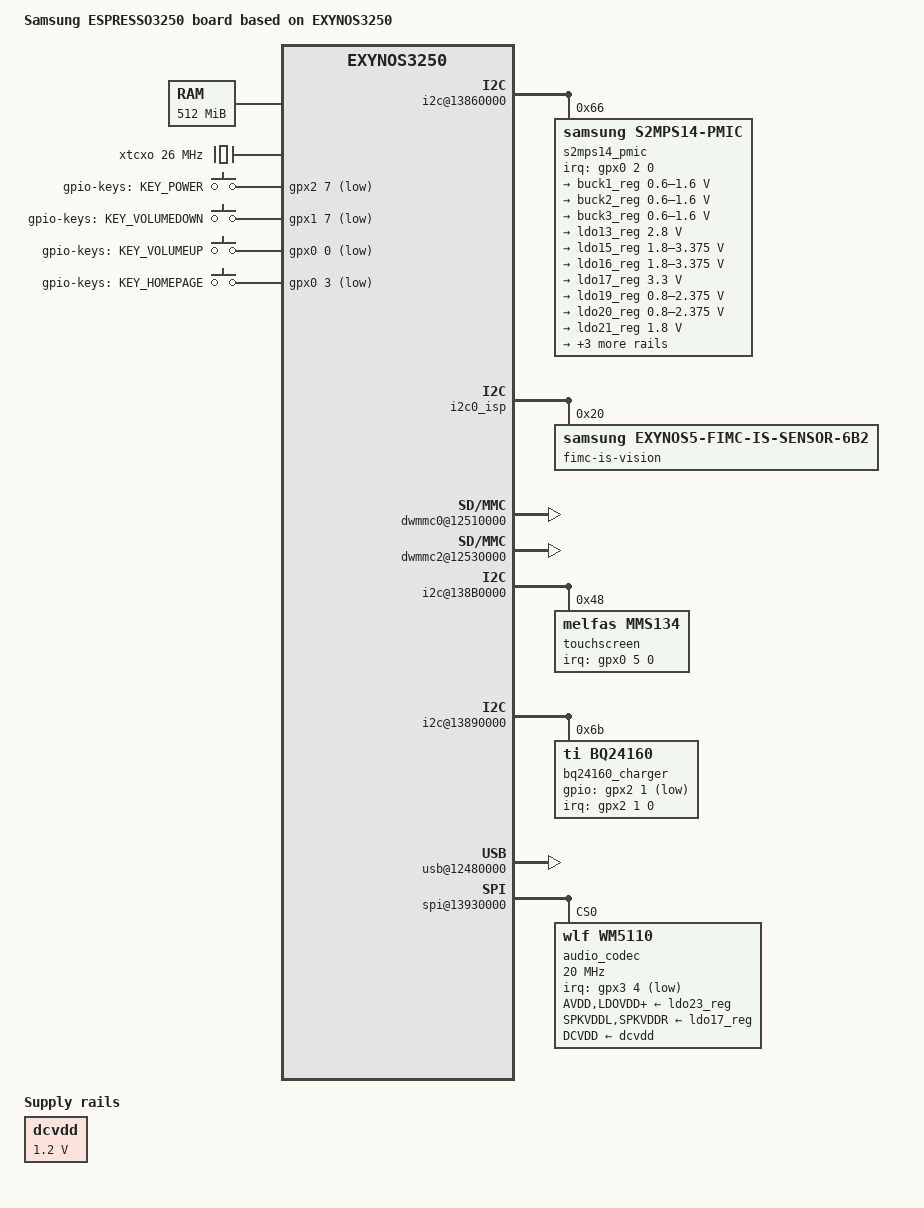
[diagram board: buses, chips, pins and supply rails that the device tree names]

/*
 * SAMSUNG ESPRESSO3250 board device tree source
 *
 * Copyright (c) 2014 Samsung Electronics Co., Ltd.
 *		http://www.samsung.com
 *
 * This program is free software; you can redistribute it and/or modify
 * it under the terms of the GNU General Public License version 2 as
 * published by the Free Software Foundation.
*/

/dts-v1/;
#include "exynos3250.dtsi"


/ {
	model = "Samsung ESPRESSO3250 board based on EXYNOS3250";
	compatible = "samsung,ESPRESSO3250", "samsung,exynos3250";

	chosen {
	};

	memory {
		reg = <0x40000000 0x20000000>;
	};

	fixed-rate-clocks {
		#address-cells = <1>;
		#size-cells = <0>;

		xrtcxti: clock@0 {
			compatible = "fixed-clock";
			reg = <0>;
			clock-frequency = <32768>;
			#clock-cells = <0>;
			clock-output-names = "xrtcxti";
		};

		xusbxti: clock@1 {
			compatible = "fixed-clock";
			clock-frequency = <24000000>;
			reg = <1>;
			#clock-cells = <0>;
			clock-output-names = "xusbxti";
		};

		xxti: clock@2 {
			compatible = "fixed-clock";
			reg = <2>;
			clock-frequency = <0>;
			#clock-cells = <0>;
			clock-output-names = "xxti";
			};

		xtcxo: clock@3 {
			compatible = "fixed-clock";
			reg = <3>;
			clock-frequency = <26000000>;
			#clock-cells = <0>;
			clock-output-names = "xtcxo";
		};
	};

	gpio_keys {
		compatible = "gpio-keys";
		#address-cells = <1>;
		#size-cells = <0>;

		button@1 {
			label = "gpio-keys: KEY_POWER";
			linux,code = <116>;
			gpios = <&gpx2 7 0x1>;
			gpio-key,wakeup = <1>;
			debounce-interval = <0>;
		};

		button@2 {
			label = "gpio-keys: KEY_VOLUMEDOWN";
			linux,code = <114>;
			gpios = <&gpx1 7 0x1>;
			debounce-interval = <0>;
		};

		button@3 {
			label = "gpio-keys: KEY_VOLUMEUP";
			linux,code = <115>;
			gpios = <&gpx0 0 0x1>;
			debounce-interval = <0>;
		};

		button@4 {
			label = "gpio-keys: KEY_HOMEPAGE";
			linux,code = <172>;
			gpios = <&gpx0 3 0x1>;
			debounce-interval = <0>;
		};
	};

	i2c@13860000 {
		status = "okay";
		samsung,i2c-sda-delay = <100>;
		samsung,i2c-max-bus-freq = <400000>;
		#size-cells = <0>;

		s2mps14_pmic@66 {
			compatible = "samsung,s2mps14-pmic";
			reg = <0x66>;
			interrupts = <2 0 0>;
			interrupt-parent = <&gpx0>;
			pinctrl-names = "default";
			pinctrl-0 = <&pmic_irq &pm_wrsti>;
			/* RTC: wtsr/smpl */
                        wtsr_en = <1>; /* enable */
                        smpl_en = <1>; /* enable */
                        wtsr_timer_val = <3>;   /* 1000ms */
                        smpl_timer_val = <4>;   /* 500ms */
                        check_jigon = <0>; /* do not check jigon */
                        /* RTC: If it's first boot, reset rtc to 1/1/2014 12:00:00(Wed) */
                        init_time,sec = <0>;
                        init_time,min = <0>;
                        init_time,hour = <12>;
                        init_time,mday = <1>;
                        init_time,mon = <0>;
                        init_time,year = <114>;
                        init_time,wday = <3>;

			regulators {
				buck1_reg: BUCK1 {
					regulator-name = "vdd_mif";
					regulator-min-microvolt = <600000>;
					regulator-max-microvolt = <1600000>;
					regulator-always-on;
					regulator-boot-on;
					regulator-ramp-delay = <12000>;
					regulator-initial-mode = <1>;
				};

				buck2_reg: BUCK2 {
					regulator-name = "vdd_arm";
					regulator-min-microvolt = <600000>;
					regulator-max-microvolt = <1600000>;
					regulator-always-on;
					regulator-boot-on;
					regulator-ramp-delay = <12000>;
					regulator-initial-mode = <1>;
				};

				buck3_reg: BUCK3 {
					regulator-name = "vdd_int";
					regulator-min-microvolt = <600000>;
					regulator-max-microvolt = <1600000>;
					regulator-always-on;
					regulator-boot-on;
					regulator-ramp-delay = <12000>;
					regulator-initial-mode = <1>;
				};

				ldo13_reg: LDO13 {
					regulator-name = "vt_cam_sensor_a2v8";
					regulator-min-microvolt = <2800000>;
					regulator-max-microvolt = <2800000>;
					regulator-initial-mode = <1>;
				};

				ldo15_reg: LDO15 {
					regulator-name = "vdd_tsp_3.3";
					regulator-min-microvolt = <1800000>;
					regulator-max-microvolt = <3375000>;
					regulator-initial-mode = <1>;
				};

				ldo16_reg: LDO16 {
					regulator-name = "vdd_lcd_3.3";
					regulator-min-microvolt = <1800000>;
					regulator-max-microvolt = <3375000>;
					regulator-initial-mode = <1>;
				};

				ldo17_reg: LDO17 {
					regulator-name = "vcc_peri_3.3";
					regulator-min-microvolt = <3300000>;
					regulator-max-microvolt = <3300000>;
				};

				ldo19_reg: LDO19 {
					regulator-name = "vdd_tsp_1.8";
					regulator-min-microvolt = <800000>;
					regulator-max-microvolt = <2375000>;
					regulator-initial-mode = <1>;
				};
				ldo20_reg: LDO20 {
					regulator-name = "vdd_lcd_1.8";
					regulator-min-microvolt = <800000>;
					regulator-max-microvolt = <2375000>;
					regulator-initial-mode = <1>;
				};

				ldo21_reg: LDO21 {
					regulator-name = "vt_cam_core_1v8";
					regulator-min-microvolt = <1800000>;
					regulator-max-microvolt = <1800000>;
					regulator-initial-mode = <1>;
				};

				ldo6_reg: LDO6 {
                                        regulator-name = "VDD_USB_AP_1.0V";
                                        regulator-min-microvolt = <1000000>;
                                        regulator-max-microvolt = <1000000>;
                                        regulator-always-on;
					regulator-initial-mode = <1>;
                                };

				ldo8_reg: LDO8 {
                                        regulator-name = "VDD_UOTG_AP_3.3V";
                                        regulator-min-microvolt = <3300000>;
                                        regulator-max-microvolt = <3300000>;
                                };

				ldo23_reg: LDO23 {
					regulator-name = "vcc_peri_1.8";
					regulator-min-microvolt = <1800000>;
					regulator-max-microvolt = <1800000>;
					regulator-always-on;
				};

				ldo2_reg: LDO2 {
					regulator-always-on;
					regulator-initial-mode = <1>;
                                };

				ldo4_reg: LDO4 {
					regulator-always-on;
                                        regulator-initial-mode = <1>;
                                };

				ldo5_reg: LDO5 {
					regulator-always-on;
                                        regulator-initial-mode = <1>;
                                };

				ldo7_reg: LDO7 {
					regulator-always-on;
                                        regulator-initial-mode = <1>;
                                };
			};
		};
	};

	dcvdd: fixed-regulator@0 {
		compatible = "regulator-fixed";
		regulator-name = "dcvdd-supply";
		regulator-min-microvolt = <1200000>;
		regulator-max-microvolt = <1200000>;
	};

	i2c0_isp: i2c@12130000 {
		status = "okay";
		samsung,i2c-sda-delay = <100>;
		samsung,i2c-max-bus-freq = <400000>;

		fimc-is-vision@20 {
			compatible = "samsung,exynos5-fimc-is-sensor-6b2";
			reg = <0x20>;
		};
	};

	dwmmc0@12510000 {
		status = "okay";
		num-slots = <1>;
		broken-cd;
		bypass-smu;
		fixed_volt;
		only_once_tune;
		extra_tuning;
		supports-highspeed;
		enable-cache-control;
		sw_data_timeout;
		fifo-depth = <0x80>;
		card-detect-delay = <200>;
		samsung,dw-mshc-ciu-div = <3>;
		samsung,dw-mshc-sdr-timing = <3 0 2 1>;
		samsung,dw-mshc-ddr-timing = <3 0 4 2>;
		samsung,dw-mshc-hs200-timing = <3 0 2 0>;
		samsung,dw-mshc-ddr200-timing = <1 1 2 0>;
		num-ref-clks = <8>;
		sd-cdn = <&gpk0 2 0x1>;
		ciu_clkin = <25 50 50 100 200 100 200 200>;
		pinctrl-names = "default";
		pinctrl-0 = <&sd0_clk &sd0_cmd &sd0_bus1 &sd0_bus4 &sd0_bus8>;

		slot@0 {
			reg = <0>;
			bus-width = <8>;
		};
	};

	dwmmc2@12530000 {
		status = "okay";
		num-slots = <1>;
		bypass-smu;
		supports-highspeed;
		fixed_volt;
		cd-type = <1>;
		fifo-depth = <0x80>;
		card-detect-delay = <250>;
		samsung,dw-mshc-ciu-div = <3>;
		samsung,dw-mshc-sdr-timing = <3 0 2 1>;
		samsung,dw-mshc-ddr-timing = <3 0 4 2>;
		num-ref-clks = <8>;
		ciu_clkin = <25 50 50 100 200 100 200 200>;
		pinctrl-names = "default";
		pinctrl-0 = <&sd2_clk &sd2_cmd &sd2_cd &sd2_bus1 &sd2_bus4>;

		slot@0 {
			reg = <0>;
			bus-width = <4>;
			disable-wp;
		};
	};

        ion {
                compatible = "samsung,exynos5430-ion";

		contig-names = "mfc_sh",
				"mfc_fw",
				"mfc_nfw";

		contig = <2 0x100000 0x0>,
			<8 0x100000 0x0>,
			<12 0x100000 0x0>;

                ion_noncontig_heap {
                        id-type = <0 0>;
                };

		exynos_contig_heap {
			id-type = <4 6>;
		};

        };

	i2c@138B0000 {
		samsung,i2c-sda-delay = <100>;
		samsung,i2c-max-bus-freq = <400000>;
		#size-cells = <0>;
		status = "okay";

		touchscreen@48 {
			compatible = "melfas, mms134";
			reg = <0x48>;
			interrupts = <5 0 0>;
			interrupt-parent = <&gpx0>;
			max_x = <480>;
			max_y = <800>;
		};
	};

	i2c@13890000 {
		samsung,i2c-sda-delay = <100>;
		samsung,i2c-max-bus-freq = <400000>;
		#address-cells = <1>;
		#size-cells = <0>;
		status = "okay";

		bq24160_charger@6b {
			compatible = "ti,bq24160";
			reg = <0x6b>;
			gpios = <&gpx2 1 1>;
			interrupts = <1 0 0>;
			interrupt-parent = <&gpx2>;
			pinctrl-names = "default";
			pinctrl-0 = <&chg_irq>;
			dev_name = "bq24160";
			support_boot_charging = <1>;
		};
	};

	sysreg_localout: sysreg_localout@10010000 {
		compatible = "samsung,exynos5-sysreg_localout";
		reg = <0x10010000 0x2000>;
	};

	mdev_0: mdev_output {
		compatible = "samsung,exynos5-mdev";
	};

	 fimd_fb: fimd_fb {
                /* gpx0[6]- TE external interrupt pin */
                gpios = <&gpx0 4 0xf>;
		lcd-3.0-supply = <&ldo16_reg>;
		lcd-1.8-supply = <&ldo20_reg>;
                fimd: fimd_ctrl {
                        samsung,left_margin = <1>;
                        samsung,right_margin = <1>;
                        samsung,upper_margin = <1>;
                        samsung,lower_margin = <1>;
                        samsung,hsync_len = <1>;
                        samsung,vsync_len = <1>;
                        samsung,xres = <480>;
                        samsung,yres = <800>;
                        samsung,virtual_x = <480>;
                        samsung,virtual_y = <800>;

                        samsung,width = <56>;
                        samsung,height = <94>;
                        samsung,max_bpp = <32>;
                        samsung,default_bpp = <24>;

                        fb_driver_data {
                                fb_win_variant_0 {
                                        has_osd_c = <1>;
                                        has_osd_d = <0>;
                                        has_osd_alpha = <0>;
                                        osd_size_off = <0x08>;
                                        palette_size = <256>;
                                        VALID_BPP_1248 = <1>;
                                        VALID_BPP_13 = <1>;
                                        VALID_BPP_15 = <1>;
                                        VALID_BPP_16 = <1>;
                                        VALID_BPP_18 = <1>;
                                        VALID_BPP_19 = <1>;
                                        VALID_BPP_24 = <1>;
                                        VALID_BPP_25 = <1>;
                                        VALID_BPP_32 = <1>;
                                };
                                fb_win_variant_1 {
                                        has_osd_c = <1>;
                                        has_osd_d = <1>;
                                        has_osd_alpha = <1>;
                                        osd_size_off = <0x0c>;
                                        palette_size = <256>;
                                        VALID_BPP_1248 = <1>;
                                        VALID_BPP_13 = <1>;
                                        VALID_BPP_15 = <1>;
                                        VALID_BPP_16 = <1>;
                                        VALID_BPP_18 = <1>;
                                        VALID_BPP_19 = <1>;
                                        VALID_BPP_24 = <1>;
                                        VALID_BPP_25 = <1>;
                                        VALID_BPP_32 = <1>;
                                };
                                fb_win_variant_2 {
                                        has_osd_c = <1>;
                                        has_osd_d = <1>;
                                        has_osd_alpha = <1>;
                                        osd_size_off = <0x0c>;
                                        palette_size = <256>;
                                        VALID_BPP_1248 = <1>;
                                        VALID_BPP_13 = <1>;
                                        VALID_BPP_15 = <1>;
                                        VALID_BPP_16 = <1>;
                                        VALID_BPP_18 = <1>;
                                        VALID_BPP_19 = <1>;
                                        VALID_BPP_24 = <1>;
                                        VALID_BPP_25 = <1>;
                                        VALID_BPP_32 = <1>;
                                };
                                fb_win_variant_3 {
                                        has_osd_c = <1>;
                                        has_osd_d = <0>;
                                        has_osd_alpha = <1>;
                                        osd_size_off = <0x0>;
                                        palette_size = <256>;
                                        VALID_BPP_1248 = <1>;
                                        VALID_BPP_13 = <1>;
                                        VALID_BPP_15 = <1>;
                                        VALID_BPP_16 = <1>;
                                        VALID_BPP_18 = <1>;
                                        VALID_BPP_19 = <1>;
                                        VALID_BPP_24 = <1>;
                                        VALID_BPP_25 = <1>;
                                        VALID_BPP_32 = <1>;
                                };
                                fb_win_variant_4 {
                                        has_osd_c = <1>;
                                        has_osd_d = <0>;
                                        has_osd_alpha = <1>;
                                        osd_size_off = <0x0>;
                                        palette_size = <256>;
                                        VALID_BPP_1248 = <1>;
                                        VALID_BPP_13 = <1>;
                                        VALID_BPP_15 = <1>;
                                        VALID_BPP_16 = <1>;
                                        VALID_BPP_18 = <1>;
                                        VALID_BPP_19 = <1>;
                                        VALID_BPP_24 = <1>;
                                        VALID_BPP_25 = <1>;
                                        VALID_BPP_32 = <1>;
                                };
                        };
                };

                mipi_dsi: mipi_dsi {
                        /* gpc0[0]-DISP_SEL(power1), gpc0[1]-Reset, gpc0[4]-LCD_BL_ON(power2) */
                        gpios = <&gpc0 0 0x1>, <&gpc0 1 0x1>, <&gpc0 4 0x1>;
                        interrupt-parent = <&gic>;
                        interrupts = <0 83 0>;

                        /* Interface definition: 0 - DSIM_COMMAND,
                                                 1 - DSIM_VIDEO */
                        e_interface = <0>;

                        /* Pixel format : 0 - DSIM_CMD_3BPP,
                                          1 - DSIM_CMD_8BPP,
                                          2 - DSIM_CMD_12BPP,
                                          3 - DSIM_CMD_16BPP,
                                          4 - DSIM_VID_16BPP_565,
                                          5 - DSIM_VID_18BPP_666PACKED,
                                          6 - DSIM_18BPP_666LOOSELYPACKED,
                                          7 - DSIM_24BPP_888 */
                        e_pixel_format = <7>;

                        /* main frame fifo auto flush at VSYNC pulse */
                        auto_flush = <0>;
                        eot_disable = <0>;
                        auto_vertical_cnt = <0>;
                        hse = <0>;
                        hfp = <0>;
                        hbp = <0>;
                        hsa = <0>;

                        /* num of data lane : 0 - DSIM_DATA_LANE_1,
                                              1 - DSIM_DATA_LANE_2,
                                              2 - DSIM_DATA_LANE_3,
                                              3 - DSIM_DATA_LANE_4 */
                        e_no_data_lane = <1>;

                        /* byte clock divider : 0 - DSIM_PLL_OUT_DIV8,
                                                1 - DSIM_EXT_CLK_DIV8,
                                                2 - DSIM_EXT_CLK_BYPASS */
                        e_byte_clk = <0>;

                        /* Burst mode : 0 - DSIM_NON_BURST_SYNC_EVENT,
                                        2 - DSIM_NON_BURST_SYNC_PULSE,
                                        1 - DSIM_BURST
                                        4 - DSIM_NON_VIDEO_MODE */
                        e_burst_mode = <1>;

                        /* PMS
                           - 1. LCD_S6E8AA0 : p - 4, m - 80, s - 2
                           - 2. LCD_S6E3FA0(COMMAND): p - 2, m - 46, s - 1
                           - 3. LCD_S6E3FA0(VIDEO): p - 4, m - 75, s - 1
                           - 4. LCD_S6E3HA0(COMMAND): p - 2, m - 46, s - 1
                           - 5. LCD_S6E63J0X03(CMD):  p - 3, m - 125, s -1 */
                        p = <2>;
                        m = <42>;
                        s = <0>;

                        /* D-PHY PLL stable time spec :min = 200usec ~ max 400usec */
                        pll_stable_time = <500>;
                        /* escape clk : 20MHz */
                        esc_clk = <20000000>;
                        /* stop state holding counter after bta change count 0 ~ 0xfff */
                        stop_holding_cnt = <0x0fff>;
                        /* bta timeout 0 ~ 0xff */
                        bta_timeout = <0xff>;
                        /* lp rx timeout 0 ~ 0xffff */
                        rx_timeout = <0xffff>;
                };
        };

	fimc_is@14000000 {
		fimc_is_dvfs {
			default_int = <134000>; /* L1 */
			default_cam = <320000>; /* L0 */
			default_mif = <400000>; /* L0 */
			default_i2c = <0>;

			rear_preview_int = <134000>; /* L1 */
			rear_preview_cam = <320000>; /* L0 */
			rear_preview_mif = <400000>; /* L0 */
			rear_preview_i2c = <0>;

			rear_capture_int = <134000>; /* L1 */
			rear_capture_cam = <320000>; /* L0 */
			rear_capture_mif = <400000>; /* L0 */
			rear_capture_i2c = <0>;

			rear_camcording_int = <134000>; /* L1 */
			rear_camcording_cam = <320000>; /* L0 */
			rear_camcording_mif = <400000>; /* L0 */
			rear_camcording_i2c = <0>;

			max_int = <134000>; /* L1 */
			max_cam = <320000>; /* L0 */
			max_mif = <400000>; /* L0 */
			max_i2c = <0>;
		};
	};

	fimc_is_sensor0: fimc_is_sensor@120A0000 {
		scenario = <0>;
		gpio_reset = <&gpm3 2 0x1>;
		cam_core-supply = <&ldo21_reg>;
		cam_sensor-supply = <&ldo13_reg>;
		id = <0>;
		mclk_ch = <1>;
		csi_ch = <0>;
		flite_ch = <0>;
		i2c_ch = <0>;
		i2c_addr = <0x20>;
		is_bns = <0>;
		status = "okay";
	};

	usb@12480000 {
		vusb_d-supply = <&ldo6_reg>;
		vusb_a-supply = <&ldo8_reg>;
		status = "okay";
	};

	spi@13930000 {
		status = "okay";
		#address-cells = <1>;
		#size-cells = <0>;

		audio_codec: WM5110@0 {
			compatible = "wlf,wm5110";
			spi-max-frequency = <20000000>;
			reg = <0x0>;

			wlf,reset = <&gpm0 4 1>;
			wlf,ldoena = <&gpx3 3 1>;
			wlf,irq-gpio = <&gpx3 4 0xF>;

			pinctrl-names = "default";
			pinctrl-0 = <&codec_reset>;

			AVDD-supply = <&ldo23_reg>;
			LDOVDD-supply = <&ldo23_reg>;
			CPVDD-supply = <&ldo23_reg>;
			MICVDD-supply = <&ldo23_reg>;
			DBVDD1-supply = <&ldo23_reg>;
			DBVDD2-supply = <&ldo23_reg>;
			DBVDD3-supply = <&ldo23_reg>;
			SPKVDDL-supply = <&ldo17_reg>;
			SPKVDDR-supply = <&ldo17_reg>;
			DCVDD-supply = <&dcvdd>;

			wlf,gpio-defaults = <
				0xA101  /* AIF1TXLRCLK */
				0xA101
				0xA101
				0xA101
				0xA101
			>;

			controller-data {
				cs-gpio = <&gpb 5 1>;
				samsung,spi-feedback-delay = <2>;
			};
		};
	};

	sound {
		compatible = "samsung,espresso-wm5110";
		samsung,audio-cpu = <&i2s>;
		samsung,audio-codec = <&audio_codec>;
		clocks = <&clock CLK_MOUT_EPLL>,
			<&clock CLK_FOUT_EPLL>,
			<&clock CLK_MOUT_AUDIO>,
			<&clock CLK_SCLK_I2S>;
		clock-names = "mout_epll", "fout_epll",
				"mout_audio", "sclk_i2s";
		status = "okay";
	};
};
